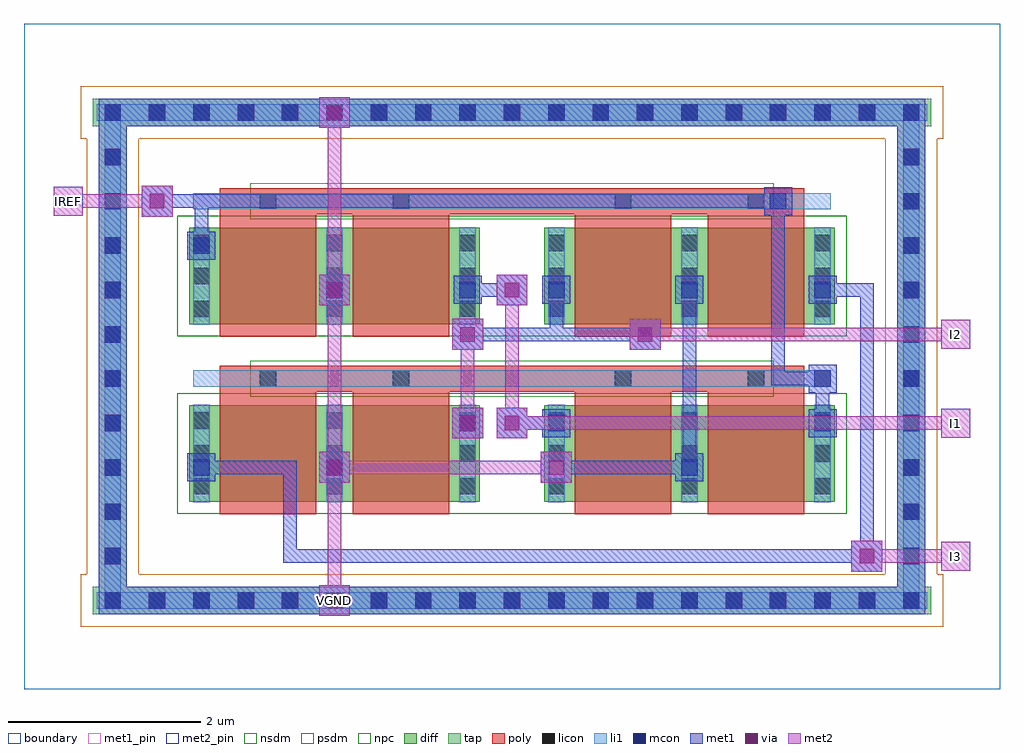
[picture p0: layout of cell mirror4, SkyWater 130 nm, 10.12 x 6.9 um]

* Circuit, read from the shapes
.subckt mirror4 I1 I2 I3 IREF VGND
XM1 VGND IREF I3 VGND sky130_fd_pr__nfet_01v8 w=1 l=1 m=2
XM2 VGND IREF IREF VGND sky130_fd_pr__nfet_01v8 w=1 l=1 m=2
XM3 I2 IREF VGND VGND sky130_fd_pr__nfet_01v8 w=1 l=1 m=2
XM4 I1 IREF VGND VGND sky130_fd_pr__nfet_01v8 w=1 l=1 m=2
.ends

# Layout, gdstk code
import gdstk
lib = gdstk.Library(unit=1e-6, precision=1e-09)
def R(c, l, rs):  # rectangles x0, y0, x1, y1
    for r in rs: c.add(gdstk.rectangle(r[:2], r[2:], *l))
def A(c, l, x, y, w, h, nx, ny, dx, dy):  # array of equal rectangles
    R(c, l, [(x+i*dx, y+j*dy, x+i*dx+w, y+j*dy+h) for i in range(nx) for j in range(ny)])
diff = (65, 20)
tap = (65, 44)
poly = (66, 20)
licon = (66, 44)
li1 = (67, 20)
mcon = (67, 44)
met1_pin = (68, 16)
met1 = (68, 20)
via = (68, 44)
met2_pin = (69, 16)
met2 = (69, 20)
nsdm = (93, 44)
psdm = (94, 20)
npc = (95, 20)
boundary = (235, 4)

mirror4 = lib.new_cell('mirror4')
R(mirror4, diff, [(1.715,1.945,4.725,2.945), (5.395,1.945,8.405,2.945), (1.715,3.785,4.725,4.785), (5.395,3.785,8.405,4.785)])
R(mirror4, tap, [(0.715,0.775,9.405,1.065), (0.775,0.775,1.065,6.125), (9.055,0.775,9.345,6.125), (0.715,5.835,9.405,6.125)])
R(mirror4, poly, [(2.03,1.815,3.03,3.22), (3.41,1.815,4.41,3.22), (5.71,1.815,6.71,3.22), (7.09,1.815,8.09,3.22), (2.03,3.085,8.09,3.355), (2.03,3.655,3.03,5.06), (3.41,3.655,4.41,5.06), (5.71,3.655,6.71,5.06), (7.09,3.655,8.09,5.06), (2.03,4.925,8.09,5.195)])
A(mirror4, licon, 0.835, 0.835, 0.17, 0.17, 19, 2, 0.46, 5.06)
A(mirror4, licon, 0.835, 1.295, 0.17, 0.17, 1, 10, 0, 0.46)
A(mirror4, licon, 9.115, 1.295, 0.17, 0.17, 1, 10, 0, 0.46)
A(mirror4, licon, 1.755, 2.02, 0.17, 0.17, 3, 3, 1.38, 0.34)
A(mirror4, licon, 5.435, 2.02, 0.17, 0.17, 3, 3, 1.38, 0.34)
A(mirror4, licon, 1.755, 3.86, 0.17, 0.17, 3, 3, 1.38, 0.34)
A(mirror4, licon, 5.435, 3.86, 0.17, 0.17, 3, 3, 1.38, 0.34)
R(mirror4, licon, [(2.445,3.135,2.615,3.305), (3.825,3.135,3.995,3.305), (6.125,3.135,6.295,3.305), (7.505,3.135,7.675,3.305), (2.445,4.975,2.615,5.145), (3.825,4.975,3.995,5.145), (6.125,4.975,6.295,5.145), (7.505,4.975,7.675,5.145)])
A(mirror4, li1, 1.755, 1.94, 0.17, 1.01, 3, 2, 1.38, 1.84)
A(mirror4, li1, 5.435, 1.94, 0.17, 1.01, 3, 2, 1.38, 1.84)
R(mirror4, li1, [(0.755,0.835,9.365,1.005), (0.835,0.835,1.005,6.065), (9.115,0.835,9.285,6.065), (1.755,3.135,8.365,3.305), (1.755,4.975,8.365,5.145), (0.755,5.895,9.365,6.065)])
A(mirror4, mcon, 0.835, 0.835, 0.17, 0.17, 19, 2, 0.46, 5.06)
A(mirror4, mcon, 0.835, 1.295, 0.17, 0.17, 1, 10, 0, 0.46)
A(mirror4, mcon, 9.115, 1.295, 0.17, 0.17, 1, 10, 0, 0.46)
A(mirror4, mcon, 5.435, 4.055, 0.17, 0.17, 3, 1, 1.38, 0)
R(mirror4, mcon, [(1.755,2.215,1.925,2.385), (3.135,2.215,3.305,2.385), (6.815,2.215,6.985,2.385), (4.515,2.675,4.685,2.845), (5.435,2.675,5.605,2.845), (8.195,2.675,8.365,2.845), (8.195,3.135,8.365,3.305), (3.135,4.055,3.305,4.225), (4.515,4.055,4.685,4.225), (1.755,4.515,1.925,4.685), (7.735,4.975,7.905,5.145)])
R(mirror4, met1_pin, [(3.15,0.85,3.29,0.99)])
A(mirror4, met1, 3.06, 2.14, 0.32, 0.32, 1, 3, 0, 1.84)
A(mirror4, met1, 5.375, 3.995, 0.29, 0.29, 3, 1, 1.38, 0)
R(mirror4, met1, [(3.06,0.76,3.38,1.08), (0.775,0.775,9.345,1.065), (0.775,0.775,1.065,6.125), (9.055,0.775,9.345,6.125), (3.15,0.85,3.29,0.99), (8.58,1.22,8.9,1.54), (2.69,1.31,8.81,1.45), (2.69,1.31,2.83,2.37), (8.67,1.31,8.81,4.21), (5.36,2.14,5.68,2.46), (1.695,2.155,1.985,2.445), (3.075,2.155,3.365,2.445), (6.755,2.155,7.045,2.445), (1.77,2.23,2.83,2.37), (5.45,2.23,6.97,2.37), (6.83,2.23,6.97,4.21), (4.44,2.6,4.76,2.92), (4.9,2.6,5.22,2.92), (4.455,2.615,4.745,2.905), (5.375,2.615,5.665,2.905), (8.135,2.615,8.425,2.905), (4.99,2.69,5.59,2.83), (8.21,2.69,8.35,3.29), (8.135,3.075,8.425,3.365), (7.75,3.15,8.35,3.29), (7.75,3.15,7.89,5.13), (4.44,3.52,4.76,3.84), (6.28,3.52,6.6,3.84), (4.53,3.61,5.59,3.75), (5.45,3.61,5.59,4.21), (5.45,3.61,6.51,3.75), (4.9,3.98,5.22,4.3), (3.075,3.995,3.365,4.285), (4.455,3.995,4.745,4.285), (4.53,4.07,5.13,4.21), (8.21,4.07,8.81,4.21), (1.695,4.455,1.985,4.745), (1.77,4.53,1.91,5.13), (1.22,4.9,1.54,5.22), (7.675,4.915,7.965,5.205), (1.31,4.99,1.91,5.13), (1.77,4.99,7.89,5.13), (0.775,5.835,9.345,6.125), (3.15,5.91,3.29,6.05)])
A(mirror4, via, 3.145, 2.225, 0.15, 0.15, 1, 3, 0, 1.84)
R(mirror4, via, [(3.145,0.845,3.295,0.995), (8.665,1.305,8.815,1.455), (5.445,2.225,5.595,2.375), (4.525,2.685,4.675,2.835), (4.985,2.685,5.135,2.835), (4.525,3.605,4.675,3.755), (6.365,3.605,6.515,3.755), (4.985,4.065,5.135,4.215), (1.305,4.985,1.455,5.135)])
R(mirror4, met2_pin, [(9.51,1.23,9.81,1.53), (9.51,2.61,9.81,2.91), (9.51,3.53,9.81,3.83), (0.31,4.91,0.61,5.21)])
A(mirror4, met2, 3.06, 2.14, 0.32, 0.32, 1, 3, 0, 1.84)
R(mirror4, met2, [(3.06,0.76,3.38,1.08), (3.15,0.85,3.29,2.37), (8.58,1.22,8.9,1.54), (9.51,1.23,9.81,1.53), (8.67,1.31,9.73,1.45), (9.59,1.31,9.73,1.45), (5.36,2.14,5.68,2.46), (3.15,2.23,3.29,4.21), (3.15,2.23,5.59,2.37), (4.44,2.6,4.76,2.92), (4.9,2.6,5.22,2.92), (9.51,2.61,9.81,2.91), (4.53,2.69,4.67,3.75), (4.99,2.69,5.13,4.21), (4.99,2.69,9.73,2.83), (9.59,2.69,9.73,2.83), (4.44,3.52,4.76,3.84), (6.28,3.52,6.6,3.84), (9.51,3.53,9.81,3.83), (6.37,3.61,9.73,3.75), (9.59,3.61,9.73,3.75), (4.9,3.98,5.22,4.3), (3.15,4.07,3.29,6.05), (1.22,4.9,1.54,5.22), (0.31,4.91,0.61,5.21), (0.39,4.99,0.53,5.13), (0.39,4.99,1.45,5.13)])
R(mirror4, nsdm, [(1.59,1.82,8.53,3.07), (1.59,3.66,8.53,4.91)])
R(mirror4, psdm, [(0.59,0.65,9.53,1.19), (0.65,1.19,1.19,5.71), (8.93,1.19,9.47,5.71), (0.59,5.71,9.53,6.25)])
R(mirror4, npc, [(2.345,3.035,7.775,3.405), (2.345,4.875,7.775,5.245)])
R(mirror4, boundary, [(0,0,10.12,6.9)])
mirror4.add(gdstk.Label('VGND', (3.22,0.92), layer=68, texttype=5))
mirror4.add(gdstk.Label('IREF', (0.46,5.06), layer=69, texttype=5))
mirror4.add(gdstk.Label('I1', (9.66,2.76), layer=69, texttype=5))
mirror4.add(gdstk.Label('I2', (9.66,3.68), layer=69, texttype=5))
mirror4.add(gdstk.Label('I3', (9.66,1.38), layer=69, texttype=5))
mirror4.add(gdstk.Label('VGND', (3.22,0.92), layer=68, texttype=16))
mirror4.add(gdstk.Label('IREF', (0.46,5.06), layer=69, texttype=16))
mirror4.add(gdstk.Label('I1', (9.66,2.76), layer=69, texttype=16))
mirror4.add(gdstk.Label('I2', (9.66,3.68), layer=69, texttype=16))
mirror4.add(gdstk.Label('I3', (9.66,1.38), layer=69, texttype=16))

lib.write_gds('mirror4.gds')
